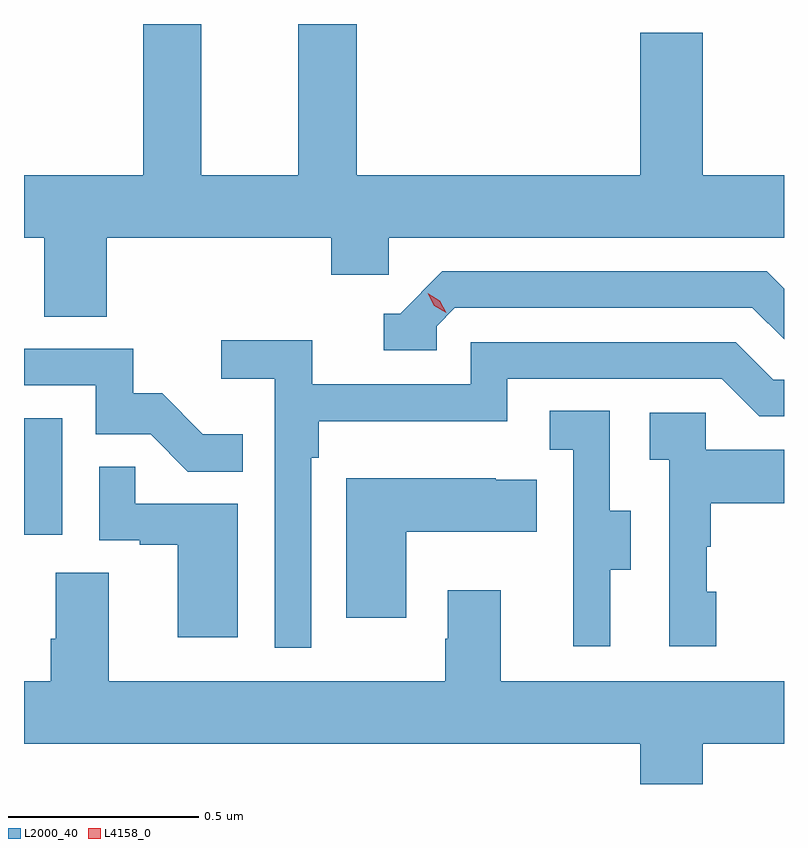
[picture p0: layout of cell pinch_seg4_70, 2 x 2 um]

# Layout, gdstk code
import gdstk
lib = gdstk.Library(unit=1e-6, precision=1e-09)
def R(c, l, rs):  # rectangles x0, y0, x1, y1
    for r in rs: c.add(gdstk.rectangle(r[:2], r[2:], *l))
def P(c, l, *ps):  # polygons
    for p in ps: c.add(gdstk.Polygon(p, *l))
L2000_40 = (2000, 40)
L4158_0 = (4158, 0)

pinch_seg4_70 = lib.new_cell('pinch_seg4_70')
R(pinch_seg4_70, L2000_40, [(1026.522,812.022,1026.622,812.329)])
P(pinch_seg4_70, L2000_40, [(1026.74,812.804),(1027.331,812.804),(1027.331,812.706),(1027.482,812.706),(1027.482,812.804),(1028.522,812.804),(1028.522,812.968),(1028.308,812.968),(1028.308,813.343),(1028.144,813.343),(1028.144,812.968),(1027.397,812.968),(1027.397,813.366),(1027.244,813.366),(1027.244,812.968),(1026.988,812.968),(1026.988,813.366),(1026.836,813.366),(1026.836,812.968),(1026.522,812.968),(1026.522,812.804),(1026.575,812.804),(1026.575,812.596),(1026.74,812.596)],
  [(1027.608,812.571),(1027.656,812.619),(1028.439,812.619),(1028.522,812.536),(1028.522,812.669),(1028.476,812.715),(1027.623,812.715),(1027.512,812.604),(1027.469,812.604),(1027.469,812.508),(1027.608,812.508)],
  [(1027.278,812.225),(1027.298,812.225),(1027.298,812.321),(1027.794,812.321),(1027.794,812.433),(1028.358,812.433),(1028.457,812.334),(1028.522,812.334),(1028.522,812.43),(1028.494,812.43),(1028.395,812.529),(1027.698,812.529),(1027.698,812.418),(1027.28,812.418),(1027.28,812.534),(1027.041,812.534),(1027.041,812.432),(1027.182,812.432),(1027.182,811.725),(1027.278,811.725)],
  [(1027.097,812.287),(1026.993,812.287),(1026.886,812.394),(1026.81,812.394),(1026.81,812.511),(1026.522,812.511),(1026.522,812.415),(1026.711,812.415),(1026.711,812.286),(1026.855,812.286),(1026.953,812.188),(1027.097,812.188)],
  [(1028.065,811.93),(1028.119,811.93),(1028.119,812.085),(1028.064,812.085),(1028.064,812.348),(1027.905,812.348),(1027.905,812.245),(1027.968,812.245),(1027.968,811.941),(1027.967,811.941),(1027.967,811.728),(1028.065,811.728)],
  [(1028.344,811.872),(1028.319,811.872),(1028.319,811.991),(1028.329,811.991),(1028.329,812.105),(1028.522,812.105),(1028.522,812.245),(1028.316,812.245),(1028.316,812.343),(1028.169,812.343),(1028.169,812.219),(1028.22,812.219),(1028.22,811.728),(1028.344,811.728)],
  [(1027.084,812.103),(1026.815,812.103),(1026.815,812.201),(1026.72,812.201),(1026.72,812.007),(1026.827,812.007),(1026.827,811.995),(1026.926,811.995),(1026.926,811.752),(1027.084,811.752)],
  [(1027.528,812.03),(1027.871,812.03),(1027.871,812.167),(1027.763,812.167),(1027.763,812.17),(1027.37,812.17),(1027.37,811.803),(1027.528,811.803)],
  [(1028.308,811.472),(1028.522,811.472),(1028.522,811.636),(1027.777,811.636),(1027.777,811.876),(1027.637,811.876),(1027.637,811.748),(1027.63,811.748),(1027.63,811.636),(1026.745,811.636),(1026.745,811.922),(1026.605,811.922),(1026.605,811.748),(1026.593,811.748),(1026.593,811.636),(1026.522,811.636),(1026.522,811.472),(1028.144,811.472),(1028.144,811.366),(1028.308,811.366)])
P(pinch_seg4_70, L4158_0, [(1027.633,812.606),(1027.602,812.625),(1027.585,812.657),(1027.585,812.657),(1027.585,812.657),(1027.616,812.638),(1027.633,812.606),(1027.633,812.606)])

lib.write_gds('pinch_seg4_70.gds')
